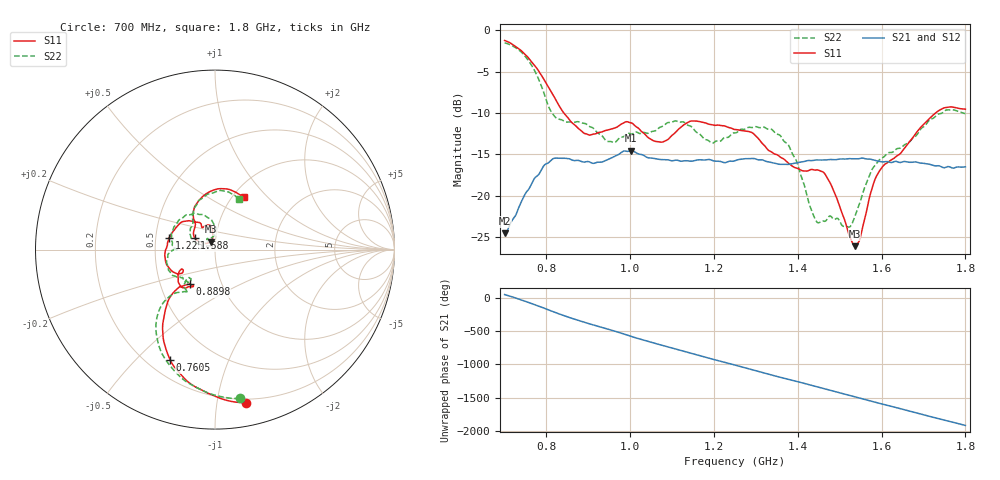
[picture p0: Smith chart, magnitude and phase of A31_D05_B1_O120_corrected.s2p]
! Created with skrf 1.9.0 (http://scikit-rf.org).
# Hz S RI R 50.0
!freq ReS11 ImS11 ReS21 ImS21 ReS12 ImS12 ReS22 ImS22
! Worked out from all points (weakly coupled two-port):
!   1601 points, 700 MHz to 1.8 GHz, reference 50 ohm
!   highest |S21| = -14.56 dB at 1.002 GHz (marker M1); lowest = -24.6 dB at 700 MHz (marker M2)
!   lowest |S11| = -26.1 dB at 1.535 GHz (marker M3), VSWR 1.10, Z = 47.6 + j4.16 ohm
!   |S11| at or under -10 dB: 841.4 MHz to 1.729 GHz (887.3 MHz wide, 69 % of centre)
!   |S22| runs from -23.8 to -1.5 dB; largest |S21 - S12| = 0.0034
!   S11 on the Smith chart (normalised r, x): 700 MHz: 0.17, -1.21; 760.5 MHz: 0.29, -0.63; 889.8 MHz: 0.71, -0.29; 1.225 GHz: 0.59, +0.08; 1.588 GHz: 0.79, +0.11; 1.8 GHz: 1.12, +0.74
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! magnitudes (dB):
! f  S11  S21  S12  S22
! 700 MHz  -1.2  -24.6  -24.4  -1.5
! 760.5 MHz  -3.6  -19.0  -18.9  -3.9
! 818.9 MHz  -8.1  -15.5  -15.6  -10.4
! 883.6 MHz  -12.2  -15.9  -15.8  -11.2
! 889.8 MHz  -12.5  -15.9  -15.9  -11.2
! 946.8 MHz  -12.1  -15.6  -15.7  -13.4
! 1.002 GHz  -11.2  -14.6  -14.7  -12.6
! 1.067 GHz  -13.5  -15.6  -15.6  -11.9
! 1.145 GHz  -11.0  -15.8  -15.8  -11.6
! 1.225 GHz  -11.6  -16.0  -16.0  -13.0
! 1.25 GHz  -12.0  -15.8  -15.7  -12.4
! 1.358 GHz  -15.3  -16.2  -16.2  -12.7
! 1.396 GHz  -16.7  -16.1  -16.0  -15.7
! 1.434 GHz  -16.8  -15.8  -15.7  -21.9
! 1.473 GHz  -18.1  -15.7  -15.7  -22.6
! 1.52 GHz  -24.5  -15.5  -15.6  -23.8
! 1.535 GHz  -26.1  -15.5  -15.5  -22.7
! 1.548 GHz  -25.2  -15.5  -15.5  -20.8
! 1.588 GHz  -17.6  -15.8  -15.8  -16.1
! 1.617 GHz  -15.9  -15.9  -15.9  -14.8
! 1.735 GHz  -9.8  -16.4  -16.4  -10.1
! 1.8 GHz  -9.5  -16.5  -16.5  -10.1
